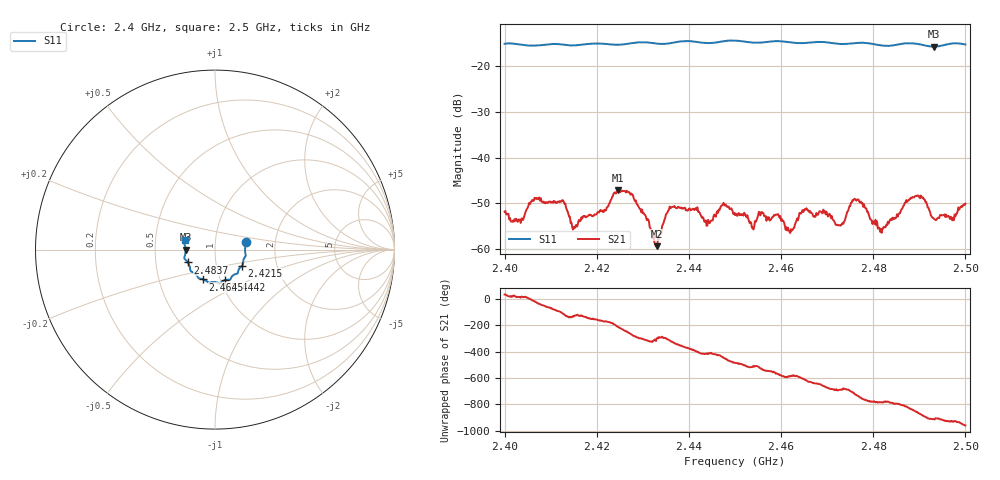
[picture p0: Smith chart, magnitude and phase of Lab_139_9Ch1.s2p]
# Hz S RI R 50
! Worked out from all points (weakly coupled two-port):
!   601 points, 2.4 GHz to 2.5 GHz, reference 50 ohm
!   highest |S21| = -47.06 dB at 2.4247 GHz (marker M1); lowest = -59.4 dB at 2.433 GHz (marker M2)
!   lowest |S11| = -15.7 dB at 2.4932 GHz (marker M3), VSWR 1.39, Z = 35.9 - j0.0559 ohm
!   |S11| at or under -10 dB: start of sweep to end of sweep
!   S12 and S22 are empty: the file has one direction only
!   S11 on the Smith chart (normalised r, x): 2.4 GHz: 1.41, +0.12; 2.4215 GHz: 1.33, -0.25; 2.4442 GHz: 1.05, -0.37; 2.4645 GHz: 0.83, -0.29; 2.4837 GHz: 0.73, -0.11; 2.5 GHz: 0.71, +0.07
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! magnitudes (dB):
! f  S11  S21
! 2.4 GHz  -15.1  -51.8
! 2.4037 GHz  -15.3  -53.3
! 2.407 GHz  -15.5  -48.8
! 2.4167 GHz  -15.3  -53.0
! 2.4215 GHz  -15.1  -51.9
! 2.4247 GHz  -15.3  -47.1
! 2.4275 GHz  -15.0  -47.8
! 2.433 GHz  -15.1  -59.4
! 2.4333 GHz  -15.1  -57.7
! 2.4363 GHz  -14.9  -50.8
! 2.4442 GHz  -15.0  -53.6
! 2.45 GHz  -14.4  -52.6
! 2.4622 GHz  -14.8  -55.6
! 2.4645 GHz  -15.0  -51.9
! 2.4667 GHz  -14.8  -52.1
! 2.473 GHz  -15.2  -54.8
! 2.4763 GHz  -14.9  -49.4
! 2.4833 GHz  -15.6  -54.4
! 2.4837 GHz  -15.5  -53.6
! 2.4895 GHz  -15.1  -48.3
! 2.4932 GHz  -15.7  -53.4
! 2.5 GHz  -15.3  -50.1
